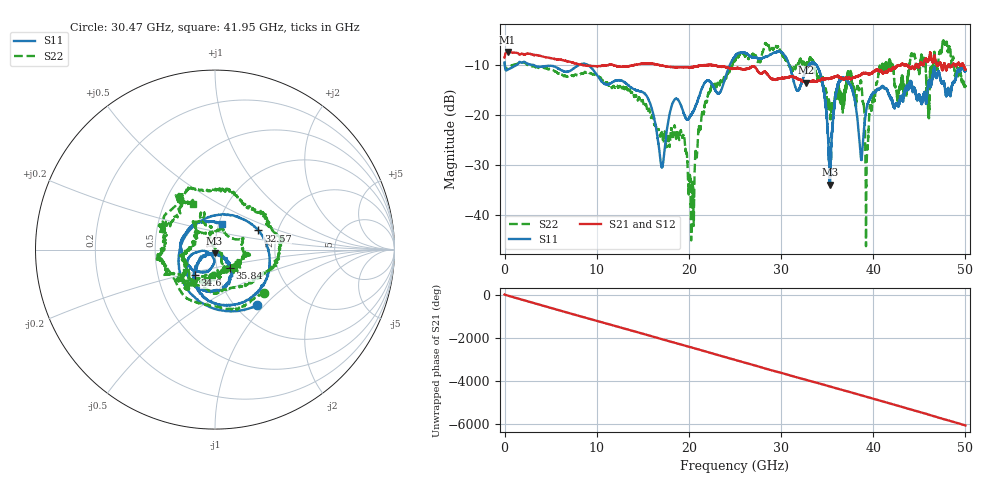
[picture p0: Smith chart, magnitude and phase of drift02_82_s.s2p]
!Created with skrf (http://scikit-rf.org).
# Hz S RI R 50.0
!freq ReS11 ImS11 ReS21 ImS21 ReS12 ImS12 ReS22 ImS22
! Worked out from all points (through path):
!   10001 points, 300 kHz to 50 GHz, reference 50 ohm
!   highest |S21| = -7.32 dB at 325.3 MHz (marker M1); lowest = -13.5 dB at 32.73 GHz (marker M2)
!   group delay of S21, straight-line fit = 335 ps
!   lowest |S11| = -33.9 dB at 35.31 GHz (marker M3), VSWR 1.04, Z = 49.7 - j1.99 ohm
!   |S11| at or under -10 dB: 3.224 GHz to 8.006 GHz (4.781 GHz wide, 85.2 % of centre); 9.107 GHz to 24.41 GHz (15.31 GHz wide, 91.3 % of centre); 33.85 GHz to end of sweep (the widest 3 of 8)
!   |S22| runs from -46.2 to -5.0 dB; largest |S21 - S12| = 0.013
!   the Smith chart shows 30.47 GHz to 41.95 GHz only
!   S11 on the Smith chart (normalised r, x): 30.47 GHz: 1.25, -0.91; 32.57 GHz: 1.59, +0.36; 34.6 GHz: 0.77, -0.23; 35.84 GHz: 1.15, -0.24; 41.95 GHz: 1.03, +0.31
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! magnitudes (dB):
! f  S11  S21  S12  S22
! 300 kHz  -9.4  -8.4  -8.4  -9.4
! 325.3 MHz  -10.9  -7.3  -7.3  -10.5
! 8.335 GHz  -9.7  -9.9  -9.9  -11.6
! 16.67 GHz  -25.4  -9.9  -9.9  -22.8
! 19.31 GHz  -18.9  -10.3  -10.3  -24.5
! 20.37 GHz  -19.5  -10.3  -10.4  -34.3
! 21.94 GHz  -13.1  -9.9  -10.0  -17.3
! 25 GHz  -8.2  -10.6  -10.6  -9.0
! 30.47 GHz  -8.2  -12.5  -12.4  -8.8
! 32.57 GHz  -11.6  -13.1  -13.3  -10.2
! 32.73 GHz  -10.9  -13.5  -13.5  -10.1
! 33.34 GHz  -9.5  -13.2  -13.2  -8.9
! 34.6 GHz  -14.8  -12.8  -12.7  -13.4
! 35.31 GHz  -33.9  -12.6  -12.5  -19.1
! 35.84 GHz  -17.6  -12.2  -12.3  -16.0
! 37.43 GHz  -13.7  -12.6  -12.4  -12.0
! 38.55 GHz  -26.2  -12.0  -12.0  -13.9
! 39.32 GHz  -18.2  -11.6  -11.6  -28.0
! 41.67 GHz  -15.8  -10.9  -11.1  -9.8
! 41.95 GHz  -16.5  -10.9  -10.9  -11.0
! 47.77 GHz  -14.4  -9.8  -9.7  -5.5
! 50 GHz  -11.1  -10.8  -10.8  -13.9
